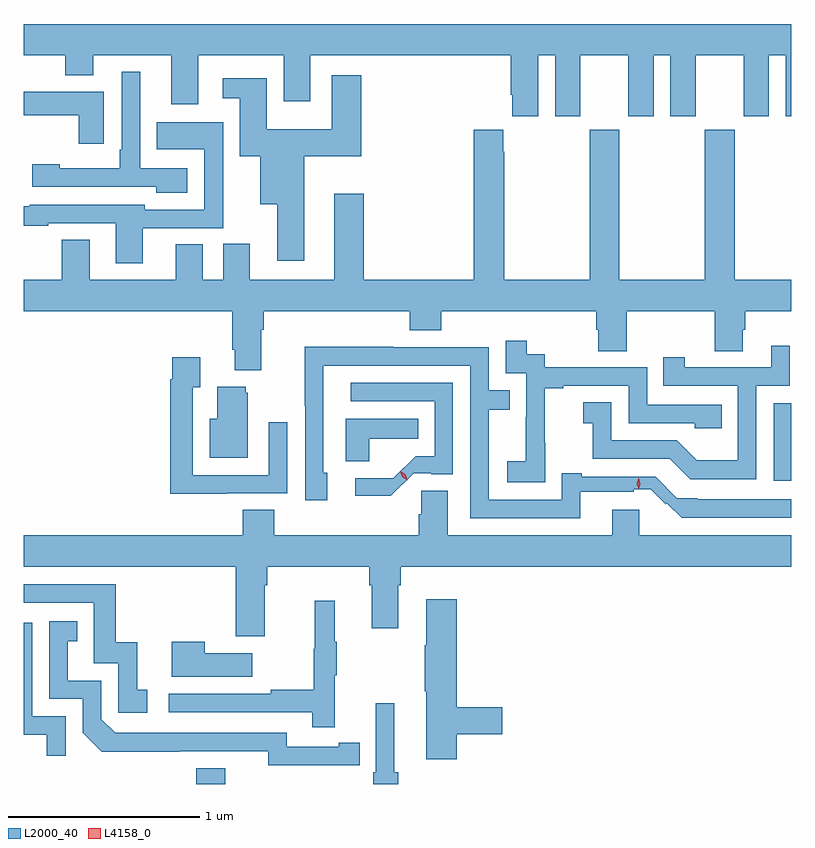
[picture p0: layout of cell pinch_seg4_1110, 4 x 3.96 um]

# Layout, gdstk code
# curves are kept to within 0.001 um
import gdstk
lib = gdstk.Library(unit=1e-6, precision=1e-09)
def R(c, l, rs):  # rectangles x0, y0, x1, y1
    for r in rs: c.add(gdstk.rectangle(r[:2], r[2:], *l))
def P(c, l, *ps):  # polygons
    for p in ps: c.add(gdstk.Polygon(p, *l))
L2000_40 = (2000, 40)
L4158_0 = (4158, 0)

pinch_seg4_1110 = lib.new_cell('pinch_seg4_1110')
R(pinch_seg4_1110, L2000_40, [(513.788,791.692,513.94,791.773), (516.798,793.272,516.89,793.677)])
P(pinch_seg4_1110, L2000_40, [(515.572,795.488),(515.66,795.488),(515.66,795.171),(515.791,795.171),(515.791,795.488),(516.041,795.488),(516.041,795.171),(516.172,795.171),(516.172,795.488),(516.26,795.488),(516.26,795.171),(516.391,795.171),(516.391,795.488),(516.641,795.488),(516.641,795.171),(516.772,795.171),(516.772,795.488),(516.86,795.488),(516.86,795.171),(516.89,795.171),(516.89,795.652),(512.89,795.652),(512.89,795.488),(513.106,795.488),(513.106,795.386),(513.253,795.386),(513.253,795.488),(513.659,795.488),(513.659,795.234),(513.799,795.234),(513.799,795.488),(514.244,795.488),(514.244,795.249),(514.384,795.249),(514.384,795.488),(515.429,795.488),(515.429,795.283),(515.435,795.283),(515.435,795.171),(515.572,795.171)],
  [(513.742,794.901),(513.498,794.901),(513.498,795.403),(513.402,795.403),(513.402,794.998),(513.39,794.998),(513.39,794.901),(513.078,794.901),(513.078,794.92),(512.934,794.92),(512.934,794.805),(513.581,794.805),(513.581,794.774),(513.742,794.774)],
  [(514.351,794.963),(514.649,794.963),(514.649,795.385),(514.496,795.385),(514.496,795.103),(514.156,795.103),(514.156,795.37),(513.927,795.37),(513.927,795.266),(514.016,795.266),(514.016,794.963),(514.124,794.963),(514.124,794.714),(514.211,794.714),(514.211,794.418),(514.351,794.418)],
  [(513.307,795.298),(512.89,795.298),(512.89,795.176),(513.178,795.176),(513.178,795.027),(513.307,795.027)],
  [(513.511,794.589),(513.929,794.589),(513.929,795.139),(513.583,795.139),(513.583,794.999),(513.831,794.999),(513.831,794.685),(513.522,794.685),(513.522,794.709),(512.922,794.709),(512.922,794.703),(512.89,794.703),(512.89,794.602),(513.018,794.602),(513.018,794.613),(513.371,794.613),(513.371,794.405),(513.511,794.405)],
  [(514.129,794.06),(514.142,794.06),(514.142,794.156),(514.901,794.156),(514.901,794.057),(515.066,794.057),(515.066,794.156),(515.873,794.156),(515.873,794.058),(515.885,794.058),(515.885,793.948),(516.033,793.948),(516.033,794.156),(516.49,794.156),(516.49,793.948),(516.637,793.948),(516.637,794.058),(516.65,794.058),(516.65,794.156),(516.89,794.156),(516.89,794.32),(516.594,794.32),(516.594,795.1),(516.439,795.1),(516.439,794.32),(515.994,794.32),(515.994,795.1),(515.839,795.1),(515.839,794.32),(515.394,794.32),(515.394,794.987),(515.389,794.987),(515.389,795.1),(515.234,795.1),(515.234,794.32),(514.661,794.32),(514.661,794.767),(514.508,794.767),(514.508,794.32),(514.069,794.32),(514.069,794.508),(513.93,794.508),(513.93,794.32),(513.823,794.32),(513.823,794.504),(513.683,794.504),(513.683,794.32),(513.235,794.32),(513.235,794.527),(513.088,794.527),(513.088,794.32),(512.89,794.32),(512.89,794.156),(513.977,794.156),(513.977,793.954),(513.989,793.954),(513.989,793.847),(514.129,793.847)],
  [(515.607,793.471),(515.606,793.471),(515.606,793.755),(515.701,793.755),(515.701,793.767),(516.042,793.767),(516.042,793.572),(516.387,793.572),(516.387,793.545),(516.527,793.545),(516.527,793.668),(516.138,793.668),(516.138,793.863),(515.604,793.863),(515.604,793.932),(515.512,793.932),(515.512,794.002),(515.403,794.002),(515.403,793.833),(515.508,793.833),(515.508,793.604),(515.507,793.604),(515.507,793.375),(515.409,793.375),(515.409,793.265),(515.607,793.265)],
  [(516.708,793.767),(516.882,793.767),(516.882,793.975),(516.785,793.975),(516.785,793.863),(516.334,793.863),(516.334,793.915),(516.223,793.915),(516.223,793.767),(516.612,793.767),(516.612,793.378),(516.398,793.378),(516.294,793.482),(515.952,793.482),(515.952,793.681),(515.805,793.681),(515.805,793.571),(515.854,793.571),(515.854,793.386),(516.257,793.386),(516.362,793.281),(516.708,793.281)],
  [(515.791,793.215),(516.069,793.215),(516.069,793.229),(516.157,793.229),(516.236,793.15),(516.242,793.156),(516.318,793.08),(516.89,793.08),(516.89,793.176),(516.403,793.176),(516.403,793.182),(516.294,793.182),(516.183,793.293),(515.797,793.293),(515.797,793.31),(515.694,793.31),(515.694,793.173),(515.313,793.173),(515.313,793.642),(515.423,793.642),(515.423,793.743),(515.313,793.743),(515.313,793.968),(514.817,793.968),(514.817,793.97),(514.354,793.97),(514.354,793.663),(514.356,793.663),(514.356,793.17),(514.471,793.17),(514.471,793.314),(514.452,793.314),(514.452,793.872),(515.217,793.872),(515.217,793.077),(515.791,793.077)],
  [(513.947,793.206),(514.263,793.206),(514.263,793.576),(514.167,793.576),(514.167,793.302),(513.771,793.302),(513.771,793.759),(513.811,793.759),(513.811,793.915),(513.663,793.915),(513.663,793.802),(513.655,793.802),(513.655,793.205),(513.947,793.205)],
  [(514.922,793.311),(515.015,793.311),(515.015,793.305),(515.127,793.305),(515.127,793.782),(514.593,793.782),(514.593,793.686),(515.031,793.686),(515.031,793.401),(514.933,793.401),(514.816,793.284),(514.617,793.284),(514.617,793.193),(514.803,793.193)],
  [(514.057,793.731),(514.046,793.731),(514.046,793.762),(513.899,793.762),(513.899,793.594),(513.86,793.594),(513.86,793.391),(514.057,793.391)],
  [(514.69,793.49),(514.946,793.49),(514.946,793.594),(514.568,793.594),(514.568,793.375),(514.69,793.375)],
  [(514.147,792.728),(514.16,792.728),(514.16,792.824),(514.691,792.824),(514.691,792.728),(514.703,792.728),(514.703,792.504),(514.843,792.504),(514.843,792.728),(514.856,792.728),(514.856,792.824),(516.89,792.824),(516.89,792.988),(516.097,792.988),(516.097,793.12),(515.957,793.12),(515.957,792.988),(515.101,792.988),(515.101,793.22),(514.962,793.22),(514.962,793.097),(514.949,793.097),(514.949,792.988),(514.196,792.988),(514.196,793.121),(514.031,793.121),(514.031,792.988),(512.89,792.988),(512.89,792.824),(513.995,792.824),(513.995,792.462),(514.147,792.462)],
  [(513.535,792.183),(513.482,792.183),(513.482,792.43),(513.371,792.43),(513.371,792.732),(512.89,792.732),(512.89,792.636),(513.255,792.636),(513.255,792.321),(513.384,792.321),(513.384,792.063),(513.535,792.063)],
  [(515.147,791.95),(515.383,791.95),(515.383,792.092),(515.147,792.092),(515.147,792.655),(514.988,792.655),(514.988,792.416),(514.981,792.416),(514.981,792.175),(514.988,792.175),(514.988,791.82),(515.147,791.82)],
  [(514.511,792.259),(514.522,792.259),(514.522,792.433),(514.511,792.433),(514.511,792.646),(514.408,792.646),(514.408,792.396),(514.401,792.396),(514.401,792.182),(514.177,792.182),(514.177,792.162),(513.645,792.162),(513.645,792.066),(514.393,792.066),(514.393,791.988),(514.511,791.988)],
  [(514.532,791.79),(514.64,791.79),(514.64,791.906),(514.532,791.906),(514.532,791.886),(514.26,791.886),(514.26,791.958),(513.366,791.958),(513.294,792.03),(513.294,792.231),(513.121,792.231),(513.121,792.435),(513.17,792.435),(513.17,792.541),(513.024,792.541),(513.024,792.135),(513.198,792.135),(513.198,791.958),(513.296,791.861),(514.164,791.862),(514.164,791.789)],
  [(513.108,792.045),(512.934,792.045),(512.934,792.531),(512.89,792.531),(512.89,791.949),(513.011,791.949),(513.011,791.838),(513.108,791.838)],
  [(514.081,792.373),(513.833,792.373),(513.833,792.433),(513.662,792.433),(513.662,792.251),(514.081,792.251)],
  [(514.841,791.752),(514.822,791.752),(514.822,792.112),(514.725,792.112),(514.725,791.752),(514.712,791.752),(514.712,791.692),(514.841,791.692)])
P(pinch_seg4_1110, L4158_0, [(516.094,793.23),(516.094,793.23),(516.084,793.257),(516.094,793.284),(516.094,793.285),(516.094,793.284),(516.104,793.257),(516.094,793.23)],
  [(514.888,793.276),(514.863,793.293),(514.853,793.322),(514.853,793.322),(514.853,793.322),(514.878,793.305),(514.888,793.277),(514.888,793.276)])

lib.write_gds('pinch_seg4_1110.gds')
